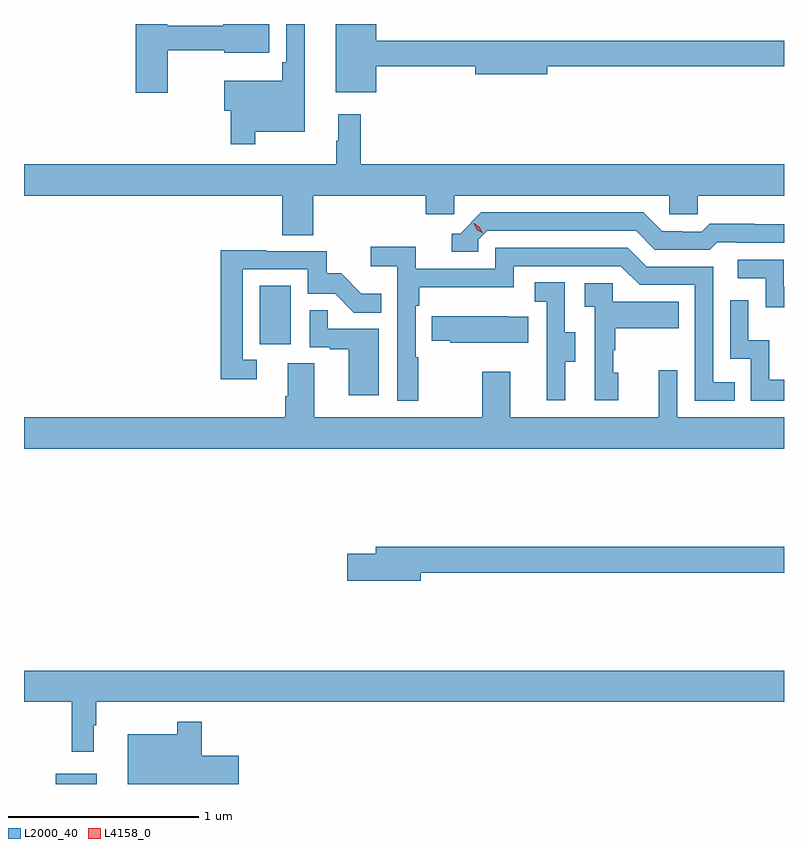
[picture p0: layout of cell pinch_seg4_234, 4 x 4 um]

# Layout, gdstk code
import gdstk
lib = gdstk.Library(unit=1e-6, precision=1e-09)
def R(c, l, rs):  # rectangles x0, y0, x1, y1
    for r in rs: c.add(gdstk.rectangle(r[:2], r[2:], *l))
def P(c, l, *ps):  # polygons
    for p in ps: c.add(gdstk.Polygon(p, *l))
L2000_40 = (2000, 40)
L4158_0 = (4158, 0)

pinch_seg4_234 = lib.new_cell('pinch_seg4_234')
R(pinch_seg4_234, L2000_40, [(900.398,817.699,900.613,817.753), (901.472,820.014,901.636,820.321)])
P(pinch_seg4_234, L2000_40, [(900.988,821.56),(901.286,821.56),(901.286,821.549),(901.522,821.549),(901.522,821.699),(901.279,821.699),(901.279,821.689),(900.984,821.689),(900.984,821.697),(900.818,821.697),(900.818,821.337),(900.988,821.337)],
  [(902.086,821.476),(902.606,821.476),(902.606,821.434),(902.986,821.434),(902.986,821.476),(904.231,821.476),(904.231,821.612),(902.086,821.612),(902.086,821.699),(901.871,821.699),(901.871,821.339),(902.086,821.339)],
  [(901.447,821.132),(901.708,821.132),(901.708,821.699),(901.611,821.699),(901.611,821.497),(901.591,821.497),(901.591,821.401),(901.284,821.401),(901.284,821.243),(901.318,821.243),(901.318,821.067),(901.447,821.067)],
  [(901.754,820.796),(902.345,820.796),(902.345,820.698),(902.496,820.698),(902.496,820.796),(903.627,820.796),(903.627,820.698),(903.777,820.698),(903.777,820.796),(904.231,820.796),(904.231,820.96),(902.003,820.96),(902.003,821.224),(901.886,821.224),(901.886,821.084),(901.875,821.084),(901.875,820.96),(900.231,820.96),(900.231,820.796),(901.589,820.796),(901.589,820.588),(901.754,820.588)],
  [(902.622,820.563),(902.67,820.611),(903.453,820.611),(903.552,820.512),(903.841,820.512),(903.88,820.551),(903.979,820.551),(903.979,820.548),(904.231,820.548),(904.231,820.645),(904.074,820.645),(904.074,820.648),(903.841,820.648),(903.799,820.605),(903.696,820.605),(903.696,820.608),(903.589,820.608),(903.49,820.707),(902.637,820.707),(902.526,820.596),(902.483,820.596),(902.483,820.5),(902.622,820.5)],
  [(902.305,819.944),(902.292,819.944),(902.292,820.217),(902.312,820.217),(902.312,820.313),(902.808,820.313),(902.808,820.425),(903.372,820.425),(903.471,820.326),(903.762,820.326),(903.762,819.717),(903.971,819.717),(903.971,819.813),(903.858,819.813),(903.858,820.422),(903.508,820.422),(903.409,820.521),(902.712,820.521),(902.712,820.41),(902.294,820.41),(902.294,820.526),(902.055,820.526),(902.055,820.424),(902.196,820.424),(902.196,819.717),(902.305,819.717)],
  [(901.456,819.933),(901.383,819.933),(901.383,820.407),(901.725,820.407),(901.725,820.278),(901.869,820.278),(901.967,820.18),(902.111,820.18),(902.111,820.279),(902.007,820.279),(901.9,820.386),(901.824,820.386),(901.824,820.503),(901.505,820.503),(901.505,820.508),(901.267,820.508),(901.267,819.828),(901.456,819.828)],
  [(904.231,820.317),(904.23,820.317),(904.23,820.458),(903.987,820.458),(903.987,820.362),(904.134,820.362),(904.134,820.209),(904.231,820.209)],
  [(903.079,819.922),(903.133,819.922),(903.133,820.077),(903.078,820.077),(903.078,820.34),(902.919,820.34),(902.919,820.237),(902.982,820.237),(902.982,819.933),(902.981,819.933),(902.981,819.72),(903.079,819.72)],
  [(903.358,819.864),(903.333,819.864),(903.333,819.983),(903.343,819.983),(903.343,820.097),(903.677,820.097),(903.677,820.237),(903.33,820.237),(903.33,820.335),(903.183,820.335),(903.183,820.211),(903.234,820.211),(903.234,819.72),(903.358,819.72)],
  [(904.231,819.826),(904.154,819.826),(904.154,820.034),(904.044,820.034),(904.044,820.246),(903.948,820.246),(903.948,819.936),(904.056,819.936),(904.056,819.717),(904.231,819.717)],
  [(902.098,820.095),(901.829,820.095),(901.829,820.193),(901.734,820.193),(901.734,819.999),(901.841,819.999),(901.841,819.987),(901.94,819.987),(901.94,819.744),(902.098,819.744)],
  [(902.885,820.159),(902.777,820.159),(902.777,820.162),(902.377,820.162),(902.377,820.033),(902.475,820.033),(902.475,820.022),(902.885,820.022)],
  [(904.231,819.628),(903.669,819.628),(903.669,819.877),(903.572,819.877),(903.572,819.628),(902.791,819.628),(902.791,819.868),(902.644,819.868),(902.644,819.628),(901.759,819.628),(901.759,819.914),(901.619,819.914),(901.619,819.74),(901.607,819.74),(901.607,819.628),(900.231,819.628),(900.231,819.464),(904.231,819.464)],
  [(902.32,818.812),(904.231,818.812),(904.231,818.948),(902.081,818.948),(902.081,818.912),(901.932,818.912),(901.932,818.77),(902.32,818.77)],
  [(900.598,818.009),(900.61,818.009),(900.61,818.132),(904.231,818.132),(904.231,818.296),(900.231,818.296),(900.231,818.132),(900.481,818.132),(900.481,817.869),(900.598,817.869)],
  [(901.36,817.849),(901.166,817.849),(901.166,818.026),(901.038,818.026),(901.038,817.96),(900.776,817.96),(900.776,817.699),(901.36,817.699)])
P(pinch_seg4_234, L4158_0, [(902.646,820.597),(902.615,820.617),(902.599,820.649),(902.599,820.65),(902.6,820.65),(902.63,820.63),(902.646,820.597),(902.646,820.597)])

lib.write_gds('pinch_seg4_234.gds')
